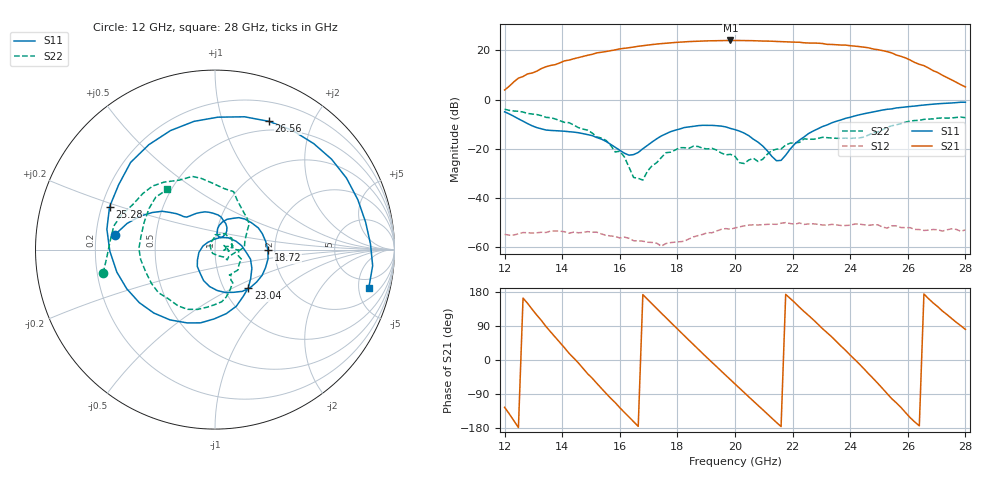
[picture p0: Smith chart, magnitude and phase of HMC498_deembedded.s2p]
!Hittite Microwave Corporation
!12 Elizabeth Drive
!Chelmsford, MA 01824
!Tel: 978-250-3343
!Fax: 978-250-3373
!Device: HMC498, 17-24 GHz, GaAS PHEMT MMIC Power Amplifier
!Misc: Vdd = 5 V, data includes two (K) connectors, Room
# MHZ S MA R 50
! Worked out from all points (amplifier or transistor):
!   101 points, 12 GHz to 28 GHz, reference 50 ohm
!   highest |S21| = 24.1 dB at 19.84 GHz (marker M1)
!   |S21| within 3 dB of that: 16.29 GHz to 24.64 GHz (8.348 GHz wide, 40.8 % of centre)
!   unconditionally stable (mu >= 1): start of sweep to end of sweep
!   at 14.56 GHz: K = 31.86, MAG = 17.6 dB, |S12| = -54.2 dB
!   at 20 GHz: K = 12.04, MAG = 24.3 dB, |S12| = -52.2 dB
!   at 28 GHz: K = 22.57, MAG = 12.5 dB, |S12| = -53.0 dB
!   S11 on the Smith chart (normalised r, x): 12 GHz: 0.28, +0.07; 18.72 GHz: 1.84, -0.01; 23.04 GHz: 1.30, -0.60; 25.28 GHz: 0.23, +0.18; 26.56 GHz: 0.40, +1.43; 28 GHz: 3.30, -6.43
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12000  0.564 171.6  1.569 -125.0  0.00181 -29.3  0.637 -168.1
13600  0.236 128.2  4.955 74.1  0.002114 -66.4  0.427 107.3
14720  0.203 93.0  7.545 -21.8  0.001977 -99.1  0.251 45.2
15360  0.157 67.5  9.196 -74.7  0.001849 -114.4  0.165 6.1
16000  0.093 57.4  10.76 -125.8  0.001527 -131.0  0.089 -40.2
16800  0.1 82.9  12.48 172.6  0.001316 -136.4  0.023 172.6
17440  0.182 68.2  13.77 123.9  0.001041 -129.9  0.066 93.5
18080  0.252 36.6  14.74 76.1  0.001281 -129.8  0.105 58.3
18720  0.295 -0.4  15.41 28.8  0.001708 -131.5  0.111 30.0
19200  0.299 -28.6  15.73 -6.1  0.00195 -148.1  0.102 12.1
19840  0.259 -66.8  15.97 -51.9  0.002306 -166.7  0.077 -7.1
20000  0.245 -76.9  15.96 -63.3  0.002441 -169.1  0.07 4.1
20640  0.156 -122.0  15.78 -108.5  0.002832 167.6  0.064 21.7
21440  0.057 134.7  15.22 -164.8  0.002897 130.6  0.098 18.4
22080  0.126 21.9  14.74 151.0  0.002913 106.9  0.132 -3.7
22720  0.23 -26.8  14.13 106.1  0.002967 73.6  0.156 -29.2
23040  0.283 -49.2  13.83 82.6  0.002802 56.5  0.171 -41.1
24160  0.465 -122.6  12.24 1.3  0.00294 -8.5  0.165 -59.5
25280  0.634 157.9  9.461 -88.5  0.002424 -79.1  0.272 -76.8
25440  0.647 146.1  8.924 -101.9  0.002693 -92.3  0.293 -82.6
26560  0.775 67.3  4.91 174.1  0.002173 -148.0  0.396 -142.6
28000  0.883 -14.1  1.81 80.8  0.002231 173.0  0.428 128.5
